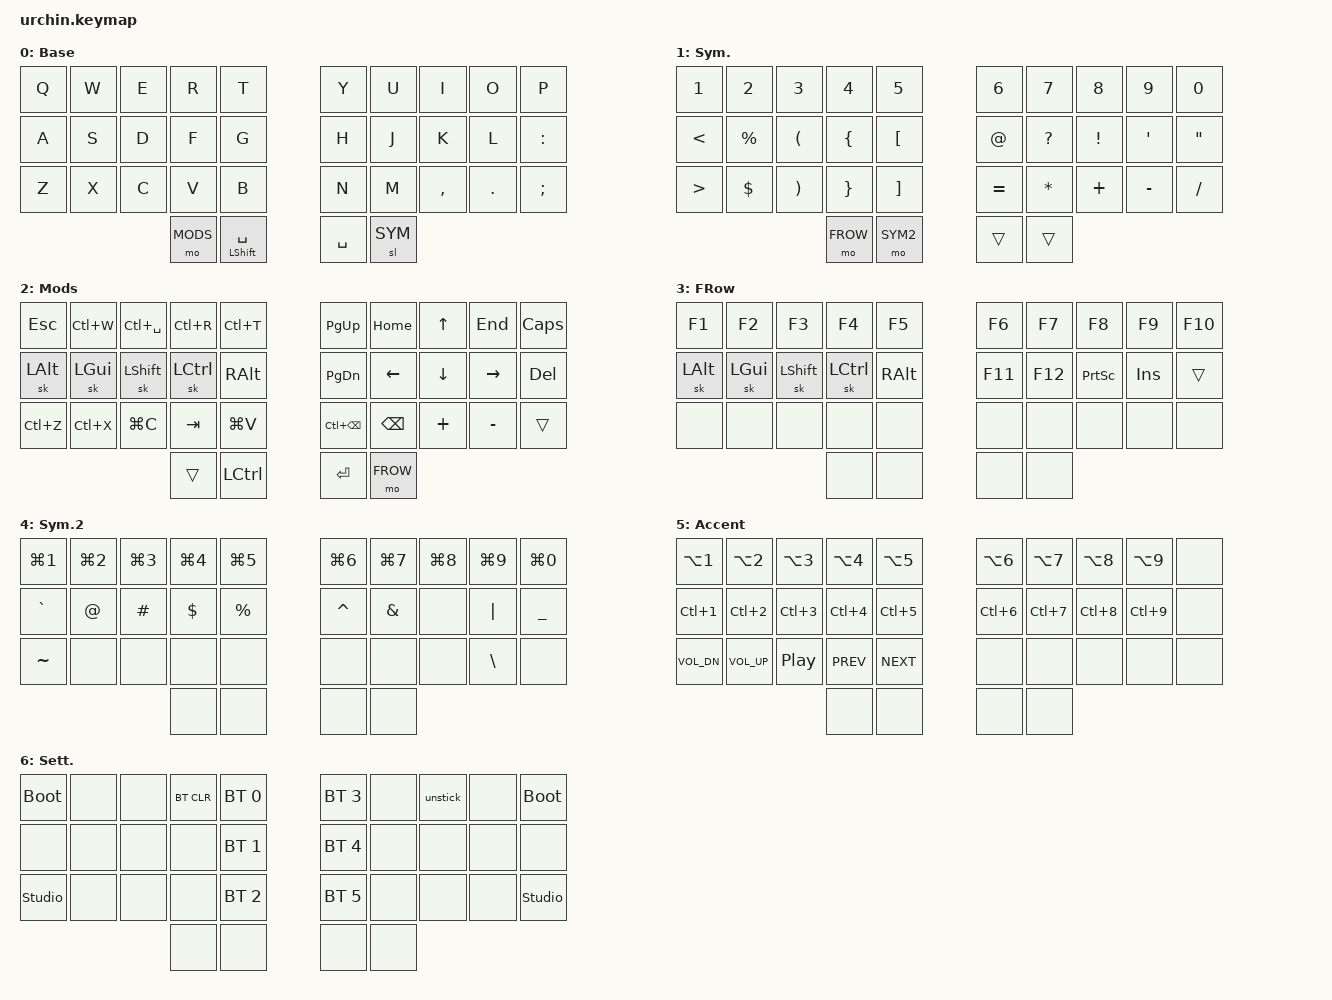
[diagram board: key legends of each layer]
/*
 * Copyright (c) 2020 duckyb
 *
 * SPDX-License-Identifier: MIT
 */

#include <behaviors.dtsi>
#include <dt-bindings/zmk/keys.h>
#include <dt-bindings/zmk/bt.h>
#include <dt-bindings/zmk/outputs.h>

// Layer definitions
#define BASE 0
#define SYM 1
#define MODS 2
#define FROW 3
#define SYM2 4
#define ACCENT 5
#define SETTINGS 6
// -----------------

&sk {
	// don't release mods on other mods presses
	ignore-modifiers;
};


/ {
	behaviors {
		// Enables holding the first mod-tap key
		// by performing a tap-release-hold sequence.
		// To use it: "&qt KEYCODE1 KEYCODE2"
		qt: quick_tap {
			compatible = "zmk,behavior-hold-tap";
			label = "QUICK_TAP";
			#binding-cells = <2>;
			flavor = "hold-preferred";
			tapping-term-ms = <200>;
			quick-tap-ms = <200>;
			bindings = <&kp>, <&kp>;
		};
	};

	macros {
		// sometimes my device thinks a modifier is being held down
		// pressing all modifiers fixes it.
		unstick: unstick {
			label = "ZM_unstick";
			compatible = "zmk,behavior-macro";
			#binding-cells = <0>;
			bindings = <&kp LSHIFT &kp RSHIFT &kp LCTRL &kp RCTRL &kp LALT &kp RALT &kp LGUI &kp RGUI>;
		};
	};

	combos {
		compatible = "zmk,combos";
		// both right thumb keys
		combo_accent {
			timeout-ms = <200>;
			key-positions = <32 33>;
			bindings = <&mo ACCENT>;
		};
		// internal-left & external-right thumb keys
		combo_sym2 {
			timeout-ms = <200>;
			key-positions = <31 33>;
			bindings = <&mo SYM2>;
		};
		// both left thumb keys
		combo_settings {
			timeout-ms = <200>;
			key-positions = <30 31>;
			bindings = <&mo SETTINGS>;
		};
		// left index & middle fingers (home-row)
		// hold control & space for Adobe workflow
		combo_ctrl_space {
			timeout-ms = <200>;
			key-positions = <12 13>;
			bindings = <&kp LC(SPACE)>;
			layers = <BASE>;
		};
	};

	keymap {
		compatible = "zmk,keymap";
		// Base alpha layer
		default_layer {
			label = "Base";
			bindings = <
			// ╭───────────┬───────────┬───────────┬────────────┬────────────╮ ╭───────────┬─────────────┬─────────────┬────────────┬────────────╮
					&kp Q 		&kp W 		&kp E 		&kp R 		&kp T           &kp Y 		&kp U  		&kp I     	 &kp O   		&kp P
			// ├───────────┼───────────┼───────────┼────────────┼────────────┤ ├───────────┼─────────────┼─────────────┼────────────┼────────────┤
					&kp A 		&kp S 		&kp D 		&kp F 		&kp G           &kp H 		&kp J  		&kp K        &kp L 	  	  &kp COLON
			// ├───────────┼───────────┼───────────┼────────────┼────────────┤ ├───────────┼─────────────┼─────────────┼────────────┼────────────┤
					&kp Z 		&kp X 		&kp C 		&kp V 		&kp B           &kp N 		&kp M  		&kp COMMA 	 &kp DOT 	  &kp SEMI
			// ╰───────────┴───────────┴───────────┼────────────┼────────────┤ ├───────────┼─────────────┼─────────────┴────────────┴────────────╯
												&mo MODS 	&qt LSHIFT SPACE  &kp SPACE   &sl SYM
			//                                     ╰────────────┴────────────╯ ╰───────────┴─────────────╯
			>;
		};

		// Numbers and high frequency symbols
		sym_layer {
			label = "Sym.";
			bindings = <
			// ╭───────────┬───────────┬───────────┬────────────┬────────────╮ ╭───────────┬─────────────┬─────────────┬────────────┬────────────╮
				 &kp N1 	  &kp N2 	 &kp N3 	  &kp N4 		&kp N5		 &kp N6 	   &kp N7 		&kp N8 		  &kp N9 	   &kp N0
			// ├───────────┼───────────┼───────────┼────────────┼────────────┤ ├───────────┼─────────────┼─────────────┼────────────┼────────────┤
			   	 &kp LT 	 &kp PRCNT   &kp LPAR  	  &kp LBRC     &kp LBKT  	 &kp AT       &kp QMARK  	&kp EXCL  	  &kp SQT      &kp DQT
			// ├───────────┼───────────┼───────────┼────────────┼────────────┤ ├───────────┼─────────────┼─────────────┼────────────┼────────────┤
				 &kp GT 	 &kp DLLR    &kp RPAR  	  &kp RBRC     &kp RBKT 	 &kp EQUAL 	   &kp STAR 	&kp PLUS 	  &kp MINUS    &kp FSLH
			// ╰───────────┴───────────┴───────────┼────────────┼────────────┤ ├───────────┼─────────────┼─────────────┴────────────┴────────────╯
													&mo FROW  &mo SYM2        &trans 		&trans
			//                                     ╰────────────┴────────────╯ ╰───────────┴─────────────╯
			>;
		};

		// Main modifiers and arrow keys, MODS layer
		mods_layer {
			label = "Mods";
			bindings = <
			// ╭───────────┬───────────┬───────────┬────────────┬────────────╮ ╭───────────┬─────────────┬─────────────┬────────────┬────────────╮
				&kp ESC     &kp LC(W)  &kp LC(SPACE) &kp LC(R)   &kp LC(T)      &kp PG_UP     &kp HOME 	  	&kp UP 		 &kp END 		&kp CAPS
			// ├───────────┼───────────┼───────────┼────────────┼────────────┤ ├───────────┼─────────────┼─────────────┼────────────┼────────────┤
				&sk LALT 	&sk LGUI  	&sk LSHIFT  &sk LCTRL  	 &kp RALT 		&kp PG_DN 	  &kp LEFT  	&kp DOWN  	 &kp RIGHT   	&kp DEL
			// ├───────────┼───────────┼───────────┼────────────┼────────────┤ ├───────────┼─────────────┼─────────────┼────────────┼────────────┤
				&kp LC(Z)   &kp LC(X) 	&kp LG(C) 	&kp TAB   	 &kp LG(V)      &kp LC(BSPC)  &kp BSPC 		&kp PLUS 	  &kp MINUS  	&trans
			// ╰───────────┴───────────┴───────────┼────────────┼────────────┤ ├───────────┼─────────────┼─────────────┴────────────┴────────────╯
															&trans 		 &kp LCTRL    	&kp ENTER  	  &mo FROW
			//                                     ╰────────────┴────────────╯ ╰───────────┴─────────────╯
			>;
		};

		// Function keys with modifiers
		frow_layer {
			label = "FRow";
			bindings = <
			// ╭───────────┬───────────┬───────────┬────────────┬────────────╮ ╭───────────┬─────────────┬─────────────┬────────────┬────────────╮
				&kp F1 		 &kp F2 	 &kp F3 	 &kp F4 		&kp F5       &kp F6 		&kp F7 		&kp F8 			&kp F9 		&kp F10
			// ├───────────┼───────────┼───────────┼────────────┼────────────┤ ├───────────┼─────────────┼─────────────┼────────────┼────────────┤
				&sk LALT 	 &sk LGUI 	&sk LSHIFT 	 &sk LCTRL 		&kp RALT     &kp F11 		&kp F12   &kp PRINTSCREEN 	&kp INS 		&trans
			// ├───────────┼───────────┼───────────┼────────────┼────────────┤ ├───────────┼─────────────┼─────────────┼────────────┼────────────┤
				&none 		  &none 	 &none 		 &none 		 	&none		 &none 			&none 		&none 			&none 		&none
			// ╰───────────┴───────────┴───────────┼────────────┼────────────┤ ├───────────┼─────────────┼─────────────┴────────────┴────────────╯
										  			 &none 			&none        &none 			&none
			//                                     ╰────────────┴────────────╯ ╰───────────┴─────────────╯
			>;
		};

		// Low frequency symbols.
		symbols_2_layer {
			label = "Sym.2";
			bindings = <
			// ╭───────────┬───────────┬───────────┬────────────┬────────────╮ ╭───────────┬─────────────┬─────────────┬────────────┬────────────╮
				&kp LG(N1) 	&kp LG(N2)   &kp LG(N3)  &kp LG(N4)   &kp LG(N5)    &kp LG(N6)    &kp LG(N7)    &kp LG(N8) 	 &kp LG(N9)   &kp LG(N0)
			// ├───────────┼───────────┼───────────┼────────────┼────────────┤ ├───────────┼─────────────┼─────────────┼────────────┼────────────┤
				&kp GRAVE     &kp AT     &kp HASH 	  &kp DLLR    &kp PRCNT   	&kp CARET   &kp AMPERSAND    &none 	 	 &kp PIPE     &kp UNDER
			// ├───────────┼───────────┼───────────┼────────────┼────────────┤ ├───────────┼─────────────┼─────────────┼────────────┼────────────┤
				&kp TILDE 	  &none 	 &none  	    &none   	&none			&none 	  	&none    	&none 	 	 &kp BSLH 		&none
			// ╰───────────┴───────────┴───────────┼────────────┼────────────┤ ├───────────┼─────────────┼─────────────┴────────────┴────────────╯
														&none 		&none        	&none 		&none
			//                                     ╰────────────┴────────────╯ ╰───────────┴─────────────╯
			>;
		};

		// Used to type regional accents.
		accent_layer {
			label = "Accent";
			bindings = <
			// ╭───────────┬───────────┬───────────┬────────────┬────────────╮ ╭───────────┬─────────────┬─────────────┬────────────┬────────────╮
				&kp LA(N1) 	&kp LA(N2)   &kp LA(N3)  &kp LA(N4)  &kp LA(N5)    	&kp LA(N6)    &kp LA(N7)    &kp LA(N8) 	 &kp LA(N9)     &none
			// ├───────────┼───────────┼───────────┼────────────┼────────────┤ ├───────────┼─────────────┼─────────────┼────────────┼────────────┤
				&kp LC(N1)  &kp LC(N2)   &kp LC(N3)  &kp LC(N4)  &kp LC(N5)     &kp LC(N6) 	  &kp LC(N7) 	&kp LC(N8) 	 &kp LC(N9) 	&none
			// ├───────────┼───────────┼───────────┼────────────┼────────────┤ ├───────────┼─────────────┼─────────────┼────────────┼────────────┤
			   &kp C_VOL_DN &kp C_VOL_UP &kp C_PP    &kp C_PREV  &kp C_NEXT       &none 		&none 		&none 			&none 		&none
			// ╰───────────┴───────────┴───────────┼────────────┼────────────┤ ├───────────┼─────────────┼─────────────┴────────────┴────────────╯
														&none 		&none         &none 		&none
			//                                     ╰────────────┴────────────╯ ╰───────────┴─────────────╯
			>;
		};

		// Used to change the keyboard's settings.
		settings_layer {
				label = "Sett.";
				bindings = <
				// ╭───────────┬───────────┬───────────┬────────────┬────────────╮ ╭───────────┬─────────────┬─────────────┬────────────┬────────────╮
					&bootloader 	&none 		&none 	 &bt BT_CLR  &bt BT_SEL 0   &bt BT_SEL 3 	&none 		&unstick 		&none 	 &bootloader
				// ├───────────┼───────────┼───────────┼────────────┼────────────┤ ├───────────┼─────────────┼─────────────┼────────────┼────────────┤
					&none 			&none 		&none 		&none    &bt BT_SEL 1   &bt BT_SEL 4 	&none 		&none 			&none 		&none
				// ├───────────┼───────────┼───────────┼────────────┼────────────┤ ├───────────┼─────────────┼─────────────┼────────────┼────────────┤
					&studio_unlock 	&none 		&none 		&none    &bt BT_SEL 2   &bt BT_SEL 5 	&none 		&none 			&none 	&studio_unlock
				// ╰───────────┴───────────┴───────────┼────────────┼────────────┤ ├───────────┼─────────────┼─────────────┴────────────┴────────────╯
															&none 		&none       	&none 		&none
				//                                     ╰────────────┴────────────╯ ╰───────────┴─────────────╯
				>;
		};
	};
};
